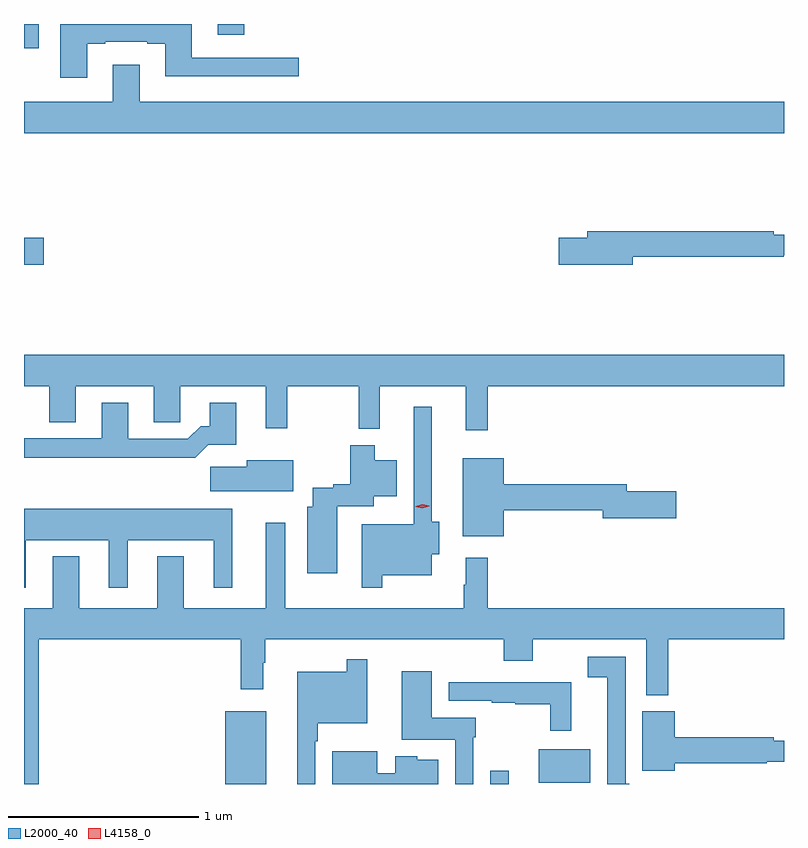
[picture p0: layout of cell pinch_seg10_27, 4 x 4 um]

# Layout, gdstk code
import gdstk
lib = gdstk.Library(unit=1e-6, precision=1e-09)
def R(c, l, rs):  # rectangles x0, y0, x1, y1
    for r in rs: c.add(gdstk.rectangle(r[:2], r[2:], *l))
def P(c, l, *ps):  # polygons
    for p in ps: c.add(gdstk.Polygon(p, *l))
L2000_40 = (2000, 40)
L4158_0 = (4158, 0)

pinch_seg10_27 = lib.new_cell('pinch_seg10_27')
R(pinch_seg10_27, L2000_40, [(941.246,1283.57,941.461,1283.953), (942.642,1283.57,942.739,1283.641), (942.896,1283.576,943.168,1283.752), (940.187,1286.302,940.291,1286.444), (940.187,1287.443,940.264,1287.57), (941.207,1287.513,941.347,1287.57)])
P(pinch_seg10_27, L2000_40, [(940.519,1287.465),(940.615,1287.465),(940.615,1287.477),(940.835,1287.477),(940.835,1287.465),(940.931,1287.465),(940.931,1287.296),(941.632,1287.296),(941.632,1287.393),(941.071,1287.393),(941.071,1287.57),(940.379,1287.57),(940.379,1287.288),(940.519,1287.288)],
  [(944.187,1287.16),(940.795,1287.16),(940.795,1287.355),(940.655,1287.355),(940.655,1287.16),(940.187,1287.16),(940.187,1286.996),(944.187,1286.996)],
  [(943.39,1286.344),(944.186,1286.344),(944.186,1286.352),(944.187,1286.352),(944.187,1286.461),(944.132,1286.461),(944.132,1286.48),(943.151,1286.48),(943.151,1286.444),(943.002,1286.444),(943.002,1286.302),(943.39,1286.302)],
  [(942.629,1285.664),(944.187,1285.664),(944.187,1285.828),(940.187,1285.828),(940.187,1285.664),(940.319,1285.664),(940.319,1285.474),(940.459,1285.474),(940.459,1285.664),(940.871,1285.664),(940.871,1285.474),(941.01,1285.474),(941.01,1285.664),(941.459,1285.664),(941.459,1285.443),(941.573,1285.443),(941.573,1285.664),(941.949,1285.664),(941.949,1285.439),(942.059,1285.439),(942.059,1285.664),(942.512,1285.664),(942.512,1285.431),(942.629,1285.431)],
  [(941.156,1285.355),(941.305,1285.355),(941.305,1285.576),(941.165,1285.576),(941.165,1285.453),(941.116,1285.453),(941.049,1285.386),(940.735,1285.386),(940.735,1285.576),(940.595,1285.576),(940.595,1285.389),(940.187,1285.389),(940.187,1285.288),(940.831,1285.288),(940.831,1285.286),(941.087,1285.286)],
  [(942.073,1284.668),(942.334,1284.668),(942.334,1284.779),(942.373,1284.779),(942.373,1284.95),(942.334,1284.95),(942.334,1285.555),(942.237,1285.555),(942.237,1284.937),(941.964,1284.937),(941.964,1284.603),(942.073,1284.603)],
  [(941.836,1285.032),(942.028,1285.032),(942.028,1285.085),(942.148,1285.085),(942.148,1285.273),(942.034,1285.273),(942.034,1285.354),(941.905,1285.354),(941.905,1285.148),(941.814,1285.148),(941.814,1285.128),(941.708,1285.128),(941.708,1285.03),(941.678,1285.03),(941.678,1284.678),(941.836,1284.678)],
  [(942.712,1285.012),(943.232,1285.012),(943.232,1284.97),(943.621,1284.97),(943.621,1285.112),(943.36,1285.112),(943.36,1285.148),(942.712,1285.148),(942.712,1285.285),(942.497,1285.285),(942.497,1284.875),(942.712,1284.875)],
  [(941.605,1285.273),(941.36,1285.273),(941.36,1285.241),(941.166,1285.241),(941.166,1285.112),(941.605,1285.112)],
  [(940.195,1284.854),(940.634,1284.854),(940.634,1284.603),(940.732,1284.603),(940.732,1284.854),(941.186,1284.854),(941.186,1284.603),(941.284,1284.603),(941.284,1285.018),(940.187,1285.018),(940.187,1284.603),(940.195,1284.603)],
  [(940.265,1284.332),(941.329,1284.332),(941.329,1284.069),(941.446,1284.069),(941.446,1284.209),(941.458,1284.209),(941.458,1284.332),(942.713,1284.332),(942.713,1284.218),(942.865,1284.218),(942.865,1284.332),(943.461,1284.332),(943.461,1284.037),(943.577,1284.037),(943.577,1284.332),(944.187,1284.332),(944.187,1284.496),(942.629,1284.496),(942.629,1284.76),(942.512,1284.76),(942.512,1284.62),(942.501,1284.62),(942.501,1284.496),(941.563,1284.496),(941.563,1284.946),(941.459,1284.946),(941.459,1284.496),(941.029,1284.496),(941.029,1284.769),(940.889,1284.769),(940.889,1284.496),(940.477,1284.496),(940.477,1284.769),(940.337,1284.769),(940.337,1284.496),(940.187,1284.496),(940.187,1283.57),(940.265,1283.57)],
  [(943.373,1283.572),(943.353,1283.572),(943.353,1284.24),(943.155,1284.24),(943.155,1284.132),(943.256,1284.132),(943.256,1283.848),(943.257,1283.848),(943.257,1283.57),(943.373,1283.57)],
  [(941.721,1283.795),(941.734,1283.795),(941.734,1283.891),(941.994,1283.891),(941.994,1284.226),(941.886,1284.226),(941.886,1284.16),(941.624,1284.16),(941.624,1283.57),(941.721,1283.57)],
  [(942.552,1283.816),(942.565,1283.816),(942.565,1283.92),(942.334,1283.92),(942.334,1284.163),(942.176,1284.163),(942.176,1283.804),(942.456,1283.804),(942.456,1283.57),(942.552,1283.57)],
  [(943.067,1284.105),(942.423,1284.105),(942.423,1284.009),(942.649,1284.009),(942.649,1283.997),(942.772,1283.997),(942.772,1283.989),(942.957,1283.989),(942.957,1283.85),(943.067,1283.85)],
  [(943.613,1283.68),(944.096,1283.68),(944.096,1283.688),(944.187,1283.688),(944.187,1283.797),(944.132,1283.797),(944.132,1283.816),(943.613,1283.816),(943.613,1283.952),(943.442,1283.952),(943.442,1283.64),(943.613,1283.64)],
  [(942.367,1283.698),(942.258,1283.698),(942.258,1283.716),(942.14,1283.716),(942.14,1283.627),(942.046,1283.627),(942.046,1283.743),(941.81,1283.743),(941.81,1283.57),(942.367,1283.57)])
P(pinch_seg10_27, L4158_0, [(942.284,1285.022),(942.249,1285.03),(942.248,1285.031),(942.249,1285.031),(942.284,1285.042),(942.32,1285.034),(942.32,1285.033),(942.32,1285.033)])

lib.write_gds('pinch_seg10_27.gds')
